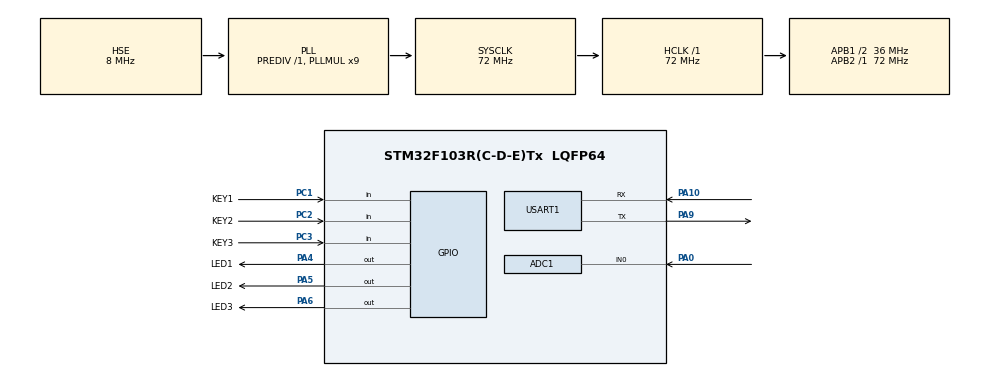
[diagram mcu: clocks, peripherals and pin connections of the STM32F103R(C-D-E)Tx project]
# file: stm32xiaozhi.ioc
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ADC1.Channel-0\#ChannelRegularConversion=ADC_CHANNEL_0
ADC1.NbrOfConversionFlag=1
ADC1.Rank-0\#ChannelRegularConversion=1
ADC1.SamplingTime-0\#ChannelRegularConversion=ADC_SAMPLETIME_1CYCLE_5
ADC1.master=1
Mcu.Family=STM32F1
Mcu.Name=STM32F103R(C-D-E)Tx
Mcu.Package=LQFP64
NVIC.PriorityGroup=NVIC_PRIORITYGROUP_4
NVIC.TIM2_IRQn=true\:0\:0\:false\:false\:true\:true\:true\:true
PA0-WKUP.Signal=ADCx_IN0
PA1.Signal=S_TIM2_CH2
PA10.Mode=Asynchronous
PA10.Signal=USART1_RX
PA13.Mode=Serial_Wire
PA13.Signal=SYS_JTMS-SWDIO
PA14.Mode=Serial_Wire
PA14.Signal=SYS_JTCK-SWCLK
PA4.GPIO_Label=LED1
PA4.GPIO_PuPd=GPIO_PULLUP
PA4.PinState=GPIO_PIN_SET
PA4.Signal=GPIO_Output
PA5.GPIO_Label=LED2
PA5.Signal=GPIO_Output
PA6.GPIO_Label=LED3
PA6.GPIO_PuPd=GPIO_PULLUP
PA6.PinState=GPIO_PIN_SET
PA6.Signal=GPIO_Output
PA9.Mode=Asynchronous
PA9.Signal=USART1_TX
PC1.GPIO_Label=KEY1
PC1.Signal=GPIO_Input
PC2.GPIO_Label=KEY2
PC2.Signal=GPIO_Input
PC3.GPIO_Label=KEY3
PC3.Signal=GPIO_Input
PD0-OSC_IN.Mode=HSE-External-Oscillator
PD0-OSC_IN.Signal=RCC_OSC_IN
PD1-OSC_OUT.Mode=HSE-External-Oscillator
PD1-OSC_OUT.Signal=RCC_OSC_OUT
ProjectManager.HeapSize=0x200
ProjectManager.StackSize=0x400
ProjectManager.TargetToolchain=MDK-ARM V5.32
RCC.ADCPresc=RCC_ADCPCLK2_DIV6
RCC.AHBFreq_Value=72000000
RCC.APB1CLKDivider=RCC_HCLK_DIV2
RCC.APB1Freq_Value=36000000
RCC.APB1TimFreq_Value=72000000
RCC.APB2Freq_Value=72000000
RCC.APB2TimFreq_Value=72000000
RCC.HCLKFreq_Value=72000000
RCC.PLLMUL=RCC_PLL_MUL9
RCC.PLLSourceVirtual=RCC_PLLSOURCE_HSE
RCC.SYSCLKFreq_VALUE=72000000
RCC.SYSCLKSource=RCC_SYSCLKSOURCE_PLLCLK
RCC.USBFreq_Value=72000000
SH.ADCx_IN0.0=ADC1_IN0,IN0
SH.S_TIM2_CH2.0=TIM2_CH2
TIM2.Period=9
TIM2.Prescaler=71
USART1.VirtualMode=VM_ASYNC
VP_TIM2_VS_ClockSourceINT.Mode=Internal
board=custom

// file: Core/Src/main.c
/* USER CODE BEGIN Header */
/**
  ******************************************************************************
  * @file           : main.c
  * @brief          : Main program body
  ******************************************************************************
  * @attention
  *
  * Copyright (c) 2026 STMicroelectronics.
  * All rights reserved.
  *
  * This software is licensed under terms that can be found in the LICENSE file
  * in the root directory of this software component.
  * If no LICENSE file comes with this software, it is provided AS-IS.
  *
  ******************************************************************************
  */
/* USER CODE END Header */
#include "main.h"
#include "adc.h"
#include "tim.h"
#include "usart.h"
#include "gpio.h"

/* USER CODE BEGIN Includes */
#include "led.h"
#include "key.h"
#include "app_adc.h"
#include "uart.h"
#include "stdio.h"
#include "soft_pwm.h"
typedef enum
{
  LED_MODE_MANUAL=0,
  LED_MODE_BREATH,
  LED_MODE_OFF
}LED_Mode_t;
static LED_Mode_t led_mode=LED_MODE_MANUAL;
static LED_Mode_t last_mode=LED_MODE_MANUAL;
uint32_t breath_tick=0;
uint8_t cmd;
/* USER CODE END Includes */

void SystemClock_Config(void);

int main(void)
{

  /* MCU Configuration--------------------------------------------------------*/

  /* Reset of all peripherals, Initializes the Flash interface and the Systick. */
  HAL_Init();

  /* Configure the system clock */
  SystemClock_Config();

  /* Initialize all configured peripherals */
  MX_GPIO_Init();
  MX_USART1_UART_Init();
  MX_TIM2_Init();
  MX_ADC1_Init();
  //SoftPWM_Init();
  UART_Init();
  HAL_TIM_Base_Start_IT(&htim2);
  /* USER CODE BEGIN 2 */
    //UART_Log("================================");
    //UART_Log("System Start");
    //UART_Log("STM32F103 Init OK");
    //UART_Log("================================");
  /* USER CODE END 2 */

  /* Infinite loop */
  /* USER CODE BEGIN WHILE */
  while (1)
  {
    uint32_t now = HAL_GetTick();
    if(UART_GetRxData(&cmd))
    {
      switch(cmd)
      {
        case '1':
          led_mode=LED_MODE_MANUAL;
          break;
        case '2':
          led_mode=LED_MODE_BREATH;
          break;
        case '3':
          led_mode=LED_MODE_OFF;
          break;
      }
    }

    /*if(KEY1_GetPressEvent())
    {
      led_mode++;
      if(led_mode>LED_MODE_OFF)
      {
        led_mode=LED_MODE_MANUAL;
      }
    }*/
    switch(led_mode)
    {
      case LED_MODE_MANUAL:
        LED_ManualControl();
        break;

      case LED_MODE_BREATH:
        if(now-breath_tick>=10)
        {
         breath_tick=now;
          LED_BreathMode();
       }
        break;

      case LED_MODE_OFF:
        if(last_mode!=led_mode)
        {
         if(led_mode==LED_MODE_OFF)
          {
          LED_Off();
          }
        }
        break;
    }

    /* USER CODE END WHILE */

  }
}

void SystemClock_Config(void)
{
  RCC_OscInitTypeDef RCC_OscInitStruct = {0};
  RCC_ClkInitTypeDef RCC_ClkInitStruct = {0};
  RCC_PeriphCLKInitTypeDef PeriphClkInit = {0};

  /** Initializes the RCC Oscillators according to the specified parameters
  * in the RCC_OscInitTypeDef structure.
  */
  RCC_OscInitStruct.OscillatorType = RCC_OSCILLATORTYPE_HSE;
  RCC_OscInitStruct.HSEState = RCC_HSE_ON;
  RCC_OscInitStruct.HSEPredivValue = RCC_HSE_PREDIV_DIV1;
  RCC_OscInitStruct.HSIState = RCC_HSI_ON;
  RCC_OscInitStruct.PLL.PLLState = RCC_PLL_ON;
  RCC_OscInitStruct.PLL.PLLSource = RCC_PLLSOURCE_HSE;
  RCC_OscInitStruct.PLL.PLLMUL = RCC_PLL_MUL9;
  if (HAL_RCC_OscConfig(&RCC_OscInitStruct) != HAL_OK)
  {
    Error_Handler();
  }

  /** Initializes the CPU, AHB and APB buses clocks
  */
  RCC_ClkInitStruct.ClockType = RCC_CLOCKTYPE_HCLK|RCC_CLOCKTYPE_SYSCLK
                              |RCC_CLOCKTYPE_PCLK1|RCC_CLOCKTYPE_PCLK2;
  RCC_ClkInitStruct.SYSCLKSource = RCC_SYSCLKSOURCE_PLLCLK;
  RCC_ClkInitStruct.AHBCLKDivider = RCC_SYSCLK_DIV1;
  RCC_ClkInitStruct.APB1CLKDivider = RCC_HCLK_DIV2;
  RCC_ClkInitStruct.APB2CLKDivider = RCC_HCLK_DIV1;

  if (HAL_RCC_ClockConfig(&RCC_ClkInitStruct, FLASH_LATENCY_2) != HAL_OK)
  {
    Error_Handler();
  }
  PeriphClkInit.PeriphClockSelection = RCC_PERIPHCLK_ADC;
  PeriphClkInit.AdcClockSelection = RCC_ADCPCLK2_DIV6;
  if (HAL_RCCEx_PeriphCLKConfig(&PeriphClkInit) != HAL_OK)
  {
    Error_Handler();
  }
}

/* USER CODE BEGIN 4 */

void HAL_TIM_PeriodElapsedCallback(TIM_HandleTypeDef *htim)
{

  if (htim->Instance == TIM2)
  {
    SoftPWM_Update();
  }
}

/* USER CODE END 4 */

void Error_Handler(void)
{
  __disable_irq();
  while (1)
  {
  }
}
